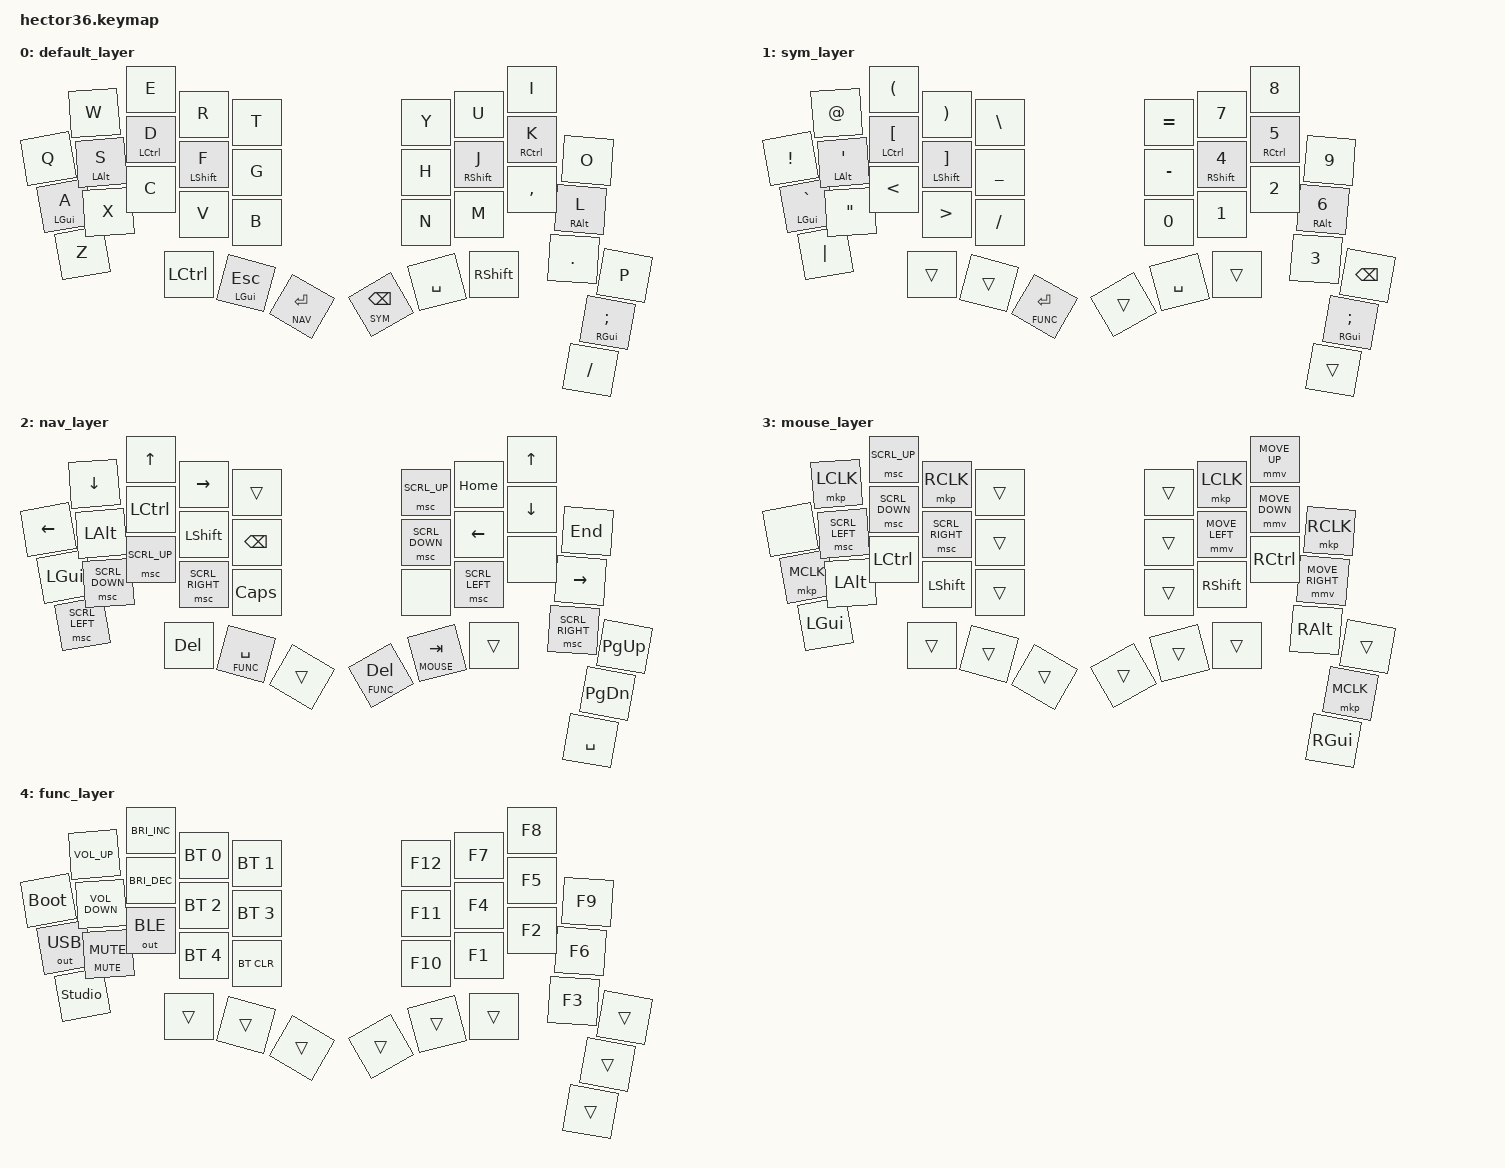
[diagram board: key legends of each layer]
#define ZMK_POINTING_DEFAULT_MOVE_VAL 2000

#include <behaviors.dtsi>
#include <dt-bindings/zmk/pointing.h>
#include <dt-bindings/zmk/bt.h>
#include <dt-bindings/zmk/keys.h>
#include <dt-bindings/zmk/outputs.h>

#define DEFAULT 0
#define SYM     1
#define NAV     2
#define MOUSE   3
#define FUNC    4

&caps_word {
    continue-list = <UNDERSCORE MINUS>;
};

&mmv {
    time-to-max-speed-ms = <2000>;
    acceleration-exponent = <1>;
};

/ {
    combos {
        compatible = "zmk,combos";
    };
};

/ {
    behaviors {
        hm: homerow_mods {
            compatible = "zmk,behavior-hold-tap";
            label = "HOMEROW_MODS";
            #binding-cells = <2>;
            tapping-term-ms = <200>;
            flavor = "balanced";
            bindings = <&kp>, <&kp>;

            quick-tap-ms = <0>;
        };

        hs: homerow_shift {
            compatible = "zmk,behavior-hold-tap";
            label = "HOMEROW_SHIFT";
            #binding-cells = <2>;
            tapping-term-ms = <175>;
            flavor = "balanced";
            bindings = <&kp>, <&kp>;

            quick-tap-ms = <0>;
        };

        rst: reset_hold_tap {
            compatible = "zmk,behavior-hold-tap";
            label = "reset_hold_tap";
            bindings = <&mo>, <&kp>;

            #binding-cells = <2>;
            tapping-term-ms = <999>;
            flavor = "tap-preferred";
            quick-tap-ms = <200>;
        };

        bsp_l: bsp_l {
            compatible = "zmk,behavior-hold-tap";
            label = "BSP_L";
            bindings = <&mo>, <&kp>;

            #binding-cells = <2>;
            tapping-term-ms = <200>;
            quick-tap-ms = <100>;
        };

        placeholder: placeholder {
            compatible = "zmk,behavior-hold-tap";
            label = "PLACEHOLDER";
            bindings = <&mo>, <&kp>;

            #binding-cells = <2>;
            tapping-term-ms = <200>;
        };
    };

    keymap {
        compatible = "zmk,keymap";

        default_layer {
            display-name = "default_layer";
            bindings = <
//    ┌──────────────┬────────────┬────────────┬─────────────┬────────────┐   ┌─────────────────┬────────────┬────────────┬────────────┬──────────────┐
//    │      Q       │     W      │     E      │      R      │     T      │   │        Y        │     U      │     I      │     O      │      P       │
//    ├──────────────┼────────────┼────────────┼─────────────┼────────────┤   ├─────────────────┼────────────┼────────────┼────────────┼──────────────┤
//    │  &hm lgui A  │ &hm lalt S │ &hm lctl D │ &hs lsft F  │     G      │   │        H        │ &hs rsft J │ &hm rctl K │ &hm ralt L │  &hm rgui ;  │
//    ├──────────────┼────────────┼────────────┼─────────────┼────────────┤   ├─────────────────┼────────────┼────────────┼────────────┼──────────────┤
//    │      Z       │     X      │     C      │      V      │     B      │   │        N        │     M      │     ,      │     .      │      /       │
//    └──────────────┴────────────┼────────────┼─────────────┼────────────┤   ├─────────────────┼────────────┼────────────┼────────────┴──────────────┘
//                                │    lctl    │ mt lgui esc │ lt NAV ent │   │ &bsp_l SYM bspc │    spc     │    rsft    │
//                                └────────────┴─────────────┴────────────┘   └─────────────────┴────────────┴────────────┘
  &kp Q        &kp W        &kp E         &kp R          &kp T               &kp Y             &kp U          &kp I         &kp O        &kp P
  &hm LGUI A   &hm LALT S   &hm LCTRL D   &hs LSHIFT F   &kp G               &kp H             &hs RSHIFT J   &hm RCTRL K   &hm RALT L   &hm RGUI SEMI
  &kp Z        &kp X        &kp C         &kp V          &kp B               &kp N             &kp M          &kp COMMA     &kp DOT      &kp FSLH
                            &kp LCTRL     &mt LGUI ESC   &lt NAV ENTER       &bsp_l SYM BSPC   &kp SPACE      &kp RSHIFT
            >;
        };

        sym_layer {
            display-name = "sym_layer";
            bindings = <
//    ┌────────────┬────────────┬────────────┬────────────┬─────────────┐   ┌─────┬────────────┬────────────┬────────────┬────────────┐
//    │     !      │     @      │     (      │     )      │      \      │   │  =  │     7      │     8      │     9      │    bspc    │
//    ├────────────┼────────────┼────────────┼────────────┼─────────────┤   ├─────┼────────────┼────────────┼────────────┼────────────┤
//    │ &hm lgui ` │ &hm lalt ' │ &hm lctl [ │ &hs lsft ] │      _      │   │  -  │ &hs rsft 4 │ &hm rctl 5 │ &hm ralt 6 │ &hm rgui ; │
//    ├────────────┼────────────┼────────────┼────────────┼─────────────┤   ├─────┼────────────┼────────────┼────────────┼────────────┤
//    │     |      │     "      │     <      │     >      │      /      │   │  0  │     1      │     2      │     3      │            │
//    └────────────┴────────────┼────────────┼────────────┼─────────────┤   ├─────┼────────────┼────────────┼────────────┴────────────┘
//                              │            │            │ lt FUNC ent │   │     │    spc     │            │
//                              └────────────┴────────────┴─────────────┘   └─────┴────────────┴────────────┘
  &kp EXCL         &kp AT              &kp LPAR         &kp RPAR          &kp BACKSLASH        &kp EQUAL   &kp N7         &kp N8         &kp N9        &kp BSPC
  &hm LGUI GRAVE   &hm LALT APOS       &hm LCTRL LBKT   &hs LSHIFT RBKT   &kp UNDER            &kp MINUS   &hs RSHFT N4   &hm RCTRL N5   &hm RALT N6   &hm RGUI SEMI
  &kp PIPE         &kp DOUBLE_QUOTES   &kp LT           &kp GT            &kp SLASH            &kp N0      &kp N1         &kp N2         &kp N3        &trans
                                       &trans           &trans            &lt FUNC ENTER       &trans      &kp SPACE      &trans
            >;
        };

        nav_layer {
            display-name = "nav_layer";
            bindings = <
//    ┌────────────────┬────────────────┬──────────────┬────────────────┬──────────┐   ┌────────────────┬────────────────┬──────┬────────────────┬──────┐
//    │      left      │      down      │      up      │      rght      │          │   │  &msc SCRL_up  │      home      │  up  │      end       │ pgup │
//    ├────────────────┼────────────────┼──────────────┼────────────────┼──────────┤   ├────────────────┼────────────────┼──────┼────────────────┼──────┤
//    │      lgui      │      lalt      │     lctl     │      lsft      │   bspc   │   │ &msc SCRL_down │      left      │ down │      rght      │ pgdn │
//    ├────────────────┼────────────────┼──────────────┼────────────────┼──────────┤   ├────────────────┼────────────────┼──────┼────────────────┼──────┤
//    │ &msc SCRL_left │ &msc SCRL_down │ &msc SCRL_up │ &msc SCRL_rght │   caps   │   │                │ &msc SCRL_left │      │ &msc SCRL_rght │ spc  │
//    └────────────────┴────────────────┼──────────────┼────────────────┼──────────┤   ├────────────────┼────────────────┼──────┼────────────────┴──────┘
//                                      │     del      │  lt FUNC spc   │          │   │  lt FUNC del   │  lt MOUSE tab  │      │
//                                      └──────────────┴────────────────┴──────────┘   └────────────────┴────────────────┴──────┘
  &kp LEFT         &kp DOWN         &kp UP         &kp RIGHT         &trans          &msc SCRL_UP     &kp HOME         &kp UP     &kp END           &kp PG_UP
  &kp LGUI         &kp LALT         &kp LCTRL      &kp LSHFT         &kp BSPC        &msc SCRL_DOWN   &kp LEFT         &kp DOWN   &kp RIGHT         &kp PG_DN
  &msc SCRL_LEFT   &msc SCRL_DOWN   &msc SCRL_UP   &msc SCRL_RIGHT   &kp CAPS        &none            &msc SCRL_LEFT   &none      &msc SCRL_RIGHT   &kp SPACE
                                    &kp DEL        &lt FUNC SPACE    &trans          &lt FUNC DEL     &lt MOUSE TAB    &trans
            >;
        };

        mouse_layer {
            display-name = "mouse_layer";
            bindings = <
//    ┌──────┬────────────────┬────────────────┬────────────────┬─────┐   ┌─────┬────────────────┬────────────────┬────────────────┬──────┐
//    │      │      lclk      │  &msc SCRL_up  │      rclk      │     │   │     │      lclk      │  &mmv MOVE_up  │      rclk      │      │
//    ├──────┼────────────────┼────────────────┼────────────────┼─────┤   ├─────┼────────────────┼────────────────┼────────────────┼──────┤
//    │ mclk │ &msc SCRL_left │ &msc SCRL_down │ &msc SCRL_rght │     │   │     │ &mmv MOVE_left │ &mmv MOVE_down │ &mmv MOVE_rght │ mclk │
//    ├──────┼────────────────┼────────────────┼────────────────┼─────┤   ├─────┼────────────────┼────────────────┼────────────────┼──────┤
//    │ lgui │      lalt      │      lctl      │      lsft      │     │   │     │      rsft      │      rctl      │      ralt      │ rgui │
//    └──────┴────────────────┼────────────────┼────────────────┼─────┤   ├─────┼────────────────┼────────────────┼────────────────┴──────┘
//                            │                │                │     │   │     │                │                │
//                            └────────────────┴────────────────┴─────┘   └─────┴────────────────┴────────────────┘
  &none       &mkp LCLK        &msc SCRL_UP     &mkp RCLK         &trans       &trans   &mkp LCLK        &mmv MOVE_UP     &mkp RCLK         &trans
  &mkp MCLK   &msc SCRL_LEFT   &msc SCRL_DOWN   &msc SCRL_RIGHT   &trans       &trans   &mmv MOVE_LEFT   &mmv MOVE_DOWN   &mmv MOVE_RIGHT   &mkp MCLK
  &kp LGUI    &kp LALT         &kp LCTRL        &kp LSHFT         &trans       &trans   &kp RSHFT        &kp RCTRL        &kp RALT          &kp RGUI
                               &trans           &trans            &trans       &trans   &trans           &trans
            >;
        };

        func_layer {
            display-name = "func_layer";
            bindings = <
//    ┌────────────────┬──────────────┬──────────┬──────────┬──────────┐   ┌─────┬─────┬─────┬────┬─────┐
//    │      boot      │     volu     │   bri+   │ bt_sel 0 │ bt_sel 1 │   │ f12 │ f7  │ f8  │ f9 │     │
//    ├────────────────┼──────────────┼──────────┼──────────┼──────────┤   ├─────┼─────┼─────┼────┼─────┤
//    │    out_ usb    │     vold     │   bri-   │ bt_sel 2 │ bt_sel 3 │   │ f11 │ f4  │ f5  │ f6 │     │
//    ├────────────────┼──────────────┼──────────┼──────────┼──────────┤   ├─────┼─────┼─────┼────┼─────┤
//    │ &studio_unlock │ mt mute mute │ out_ ble │ bt_sel 4 │  bt_clr  │   │ f10 │ f1  │ f2  │ f3 │     │
//    └────────────────┴──────────────┼──────────┼──────────┼──────────┤   ├─────┼─────┼─────┼────┴─────┘
//                                    │          │          │          │   │     │     │     │
//                                    └──────────┴──────────┴──────────┘   └─────┴─────┴─────┘
  &bootloader      &kp C_VOLUME_UP     &kp C_BRIGHTNESS_INC   &bt BT_SEL 0   &bt BT_SEL 1       &kp F12   &kp F7   &kp F8   &kp F9   &trans
  &out OUT_USB     &kp C_VOLUME_DOWN   &kp C_BRIGHTNESS_DEC   &bt BT_SEL 2   &bt BT_SEL 3       &kp F11   &kp F4   &kp F5   &kp F6   &trans
  &studio_unlock   &mt C_MUTE K_MUTE   &out OUT_BLE           &bt BT_SEL 4   &bt BT_CLR         &kp F10   &kp F1   &kp F2   &kp F3   &trans
                                       &trans                 &trans         &trans             &trans    &trans   &trans
            >;
        };
        extra1 {
            status = "reserved";
        };
        extra2 {
            status = "reserved";
        };
        extra3 {
            status = "reserved";
        };
        extra4 {
            status = "reserved";
        };
        extra5 {
            status = "reserved";
        };
        extra6 {
            status = "reserved";
        };
    };
};
